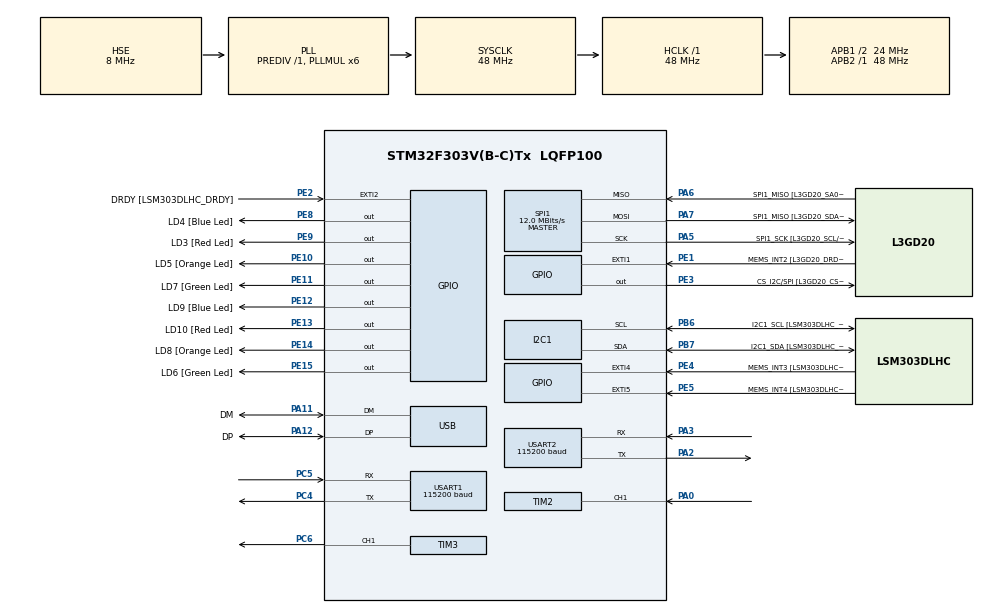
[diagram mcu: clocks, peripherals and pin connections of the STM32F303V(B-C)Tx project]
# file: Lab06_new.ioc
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I2C1.Timing=0x00201D2B
I2C1.Timing-I2C=0x2000090E
Mcu.Family=STM32F3
Mcu.Name=STM32F303V(B-C)Tx
Mcu.Package=LQFP100
NVIC.PriorityGroup=NVIC_PRIORITYGROUP_0
NVIC.TIM2_IRQn=true\:0\:0\:false\:false\:true\:true\:true\:true
NVIC.USB_LP_CAN_RX0_IRQn=true\:0\:0\:false\:false\:true\:false\:true\:true
PA0.Signal=S_TIM2_CH1_ETR
PA11.GPIO_Label=DM
PA11.Mode=Device
PA11.Signal=USB_DM
PA12.GPIO_Label=DP
PA12.Mode=Device
PA12.Signal=USB_DP
PA13.GPIO_Label=SWDIO
PA13.Mode=Serial_Wire
PA13.Signal=SYS_JTMS-SWDIO
PA14.GPIO_Label=SWCLK
PA14.Mode=Serial_Wire
PA14.Signal=SYS_JTCK-SWCLK
PA2.Mode=Asynchronous
PA2.Signal=USART2_TX
PA3.Mode=Asynchronous
PA3.Signal=USART2_RX
PA5.GPIO_Label=SPI1_SCK [L3GD20_SCL/SPC]
PA5.Mode=Full_Duplex_Master
PA5.Signal=SPI1_SCK
PA6.GPIO_Label=SPI1_MISO [L3GD20_SA0/SDO]
PA6.Mode=Full_Duplex_Master
PA6.Signal=SPI1_MISO
PA7.GPIO_Label=SPI1_MISO [L3GD20_SDA/SDI/SDO]
PA7.Mode=Full_Duplex_Master
PA7.Signal=SPI1_MOSI
PB3.GPIO_Label=SWO
PB3.Signal=SYS_JTDO-TRACESWO
PB6.GPIO_Label=I2C1_SCL [LSM303DLHC_SCL]
PB6.GPIO_Pu=GPIO_PULLUP
PB6.Mode=I2C
PB6.Signal=I2C1_SCL
PB7.GPIO_Label=I2C1_SDA [LSM303DLHC_SDA]
PB7.GPIO_Pu=GPIO_PULLUP
PB7.Mode=I2C
PB7.Signal=I2C1_SDA
PC14-OSC32_IN.GPIO_Label=OSC32_IN
PC14-OSC32_IN.Signal=RCC_OSC32_IN
PC15-OSC32_OUT.GPIO_Label=OSC32_OUT
PC15-OSC32_OUT.Signal=RCC_OSC32_OUT
PC4.Mode=Asynchronous
PC4.Signal=USART1_TX
PC5.Mode=Asynchronous
PC5.Signal=USART1_RX
PC6.Signal=S_TIM3_CH1
PE1.GPIO_Label=MEMS_INT2 [L3GD20_DRDY/INT2]
PE1.GPIO_ModeDefaultEXTI=GPIO_MODE_EVT_RISING
PE1.Signal=GPXTI1
PE10.GPIO_Label=LD5 [Orange Led]
PE10.Signal=GPIO_Output
PE11.GPIO_Label=LD7 [Green Led]
PE11.Signal=GPIO_Output
PE12.GPIO_Label=LD9 [Blue Led]
PE12.Signal=GPIO_Output
PE13.GPIO_Label=LD10 [Red Led]
PE13.Signal=GPIO_Output
PE14.GPIO_Label=LD8 [Orange Led]
PE14.Signal=GPIO_Output
PE15.GPIO_Label=LD6 [Green Led]
PE15.Signal=GPIO_Output
PE2.GPIO_Label=DRDY [LSM303DLHC_DRDY]
PE2.GPIO_ModeDefaultEXTI=GPIO_MODE_EVT_RISING
PE2.Signal=GPXTI2
PE3.GPIO_Label=CS_I2C/SPI [L3GD20_CS_I2C/SPI]
PE3.Signal=GPIO_Output
PE4.GPIO_Label=MEMS_INT3 [LSM303DLHC_INT1]
PE4.GPIO_ModeDefaultEXTI=GPIO_MODE_EVT_RISING
PE4.Signal=GPXTI4
PE5.GPIO_Label=MEMS_INT4 [LSM303DLHC_INT2]
PE5.GPIO_ModeDefaultEXTI=GPIO_MODE_EVT_RISING
PE5.Signal=GPXTI5
PE8.GPIO_Label=LD4 [Blue Led]
PE8.Signal=GPIO_Output
PE9.GPIO_Label=LD3 [Red Led]
PE9.Signal=GPIO_Output
PF0-OSC_IN.GPIO_Label=OSC_IN
PF0-OSC_IN.Mode=HSE-External-Clock-Source
PF0-OSC_IN.Signal=RCC_OSC_IN
PF1-OSC_OUT.GPIO_Label=OSC_OUT
PF1-OSC_OUT.Signal=RCC_OSC_OUT
ProjectManager.HeapSize=0x200
ProjectManager.StackSize=0x400
ProjectManager.TargetToolchain=CMake
RCC.AHBFreq_Value=48000000
RCC.APB1CLKDivider=RCC_HCLK_DIV2
RCC.APB1Freq_Value=24000000
RCC.APB1TimFreq_Value=48000000
RCC.APB2Freq_Value=48000000
RCC.APB2TimFreq_Value=48000000
RCC.CortexFreq_Value=48000000
RCC.HCLKFreq_Value=48000000
RCC.HSE_VALUE=8000000
RCC.HSI_VALUE=8000000
RCC.LSE_VALUE=32768
RCC.PLLMUL=RCC_PLL_MUL6
RCC.SYSCLKFreq_VALUE=48000000
RCC.SYSCLKSourceVirtual=RCC_SYSCLKSOURCE_PLLCLK
RCC.USBFreq_Value=48000000
SH.S_TIM2_CH1_ETR.0=TIM2_CH1,Input_Capture1_from_TI1
SH.S_TIM3_CH1.0=TIM3_CH1,PWM Generation1 CH1
SPI1.BaudRatePrescaler=SPI_BAUDRATEPRESCALER_4
SPI1.BaudRatePrescaler-Full_Duplex_Master=SPI_BAUDRATEPRESCALER_2
SPI1.CalculateBaudRate=12.0 MBits/s
SPI1.CalculateBaudRate-Full_Duplex_Master=24.0 MBits/s
SPI1.Direction=SPI_DIRECTION_2LINES
SPI1.Mode=SPI_MODE_MASTER
SPI1.Mode-Full_Duplex_Master=SPI_MODE_MASTER
SPI1.VirtualType=VM_MASTER
TIM2.Channel-Input_Capture1_from_TI1=TIM_CHANNEL_1
TIM2.Period=65535
TIM2.Prescaler=71
TIM3.AutoReloadPreload=TIM_AUTORELOAD_PRELOAD_DISABLE
TIM3.Channel-PWM\ Generation1\ CH1=TIM_CHANNEL_1
TIM3.Period=999
TIM3.Prescaler=47
TIM3.Pulse-PWM\ Generation1\ CH1=500
USART1.BaudRate=115200
USART1.VirtualMode-Asynchronous=VM_ASYNC
USART2.BaudRate=115200
USART2.VirtualMode-Asynchronous=VM_ASYNC
USB_DEVICE.CLASS_NAME_FS=CDC
USB_DEVICE.VirtualMode=Cdc
USB_DEVICE.VirtualModeFS=Cdc_FS
VP_USB_DEVICE_VS_USB_DEVICE_CDC_FS.Mode=CDC_FS
board=STM32F3DISCOVERY

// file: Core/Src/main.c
/* USER CODE BEGIN Header */
/**
  ******************************************************************************
  * @file           : main.c
  * @brief          : Main program body
  ******************************************************************************
  * @attention
  *
  * Copyright (c) 2026 STMicroelectronics.
  * All rights reserved.
  *
  * This software is licensed under terms that can be found in the LICENSE file
  * in the root directory of this software component.
  * If no LICENSE file comes with this software, it is provided AS-IS.
  *
  ******************************************************************************
  */
/* USER CODE END Header */
#include "main.h"
#include "usb_device.h"

/* USER CODE BEGIN Includes */
#include "stm32f3xx_hal_gpio.h"
#include "stm32f3xx_hal_uart.h"
#include "main.h"
#include "stdarg.h"
#include "stdio.h"
#include "stm32f3xx_hal.h"
#include "string.h"
#include "math.h"

/* USER CODE END Includes */

I2C_HandleTypeDef hi2c1;

SPI_HandleTypeDef hspi1;

TIM_HandleTypeDef htim2;
TIM_HandleTypeDef htim3;

UART_HandleTypeDef huart1;
UART_HandleTypeDef huart2;

void SystemClock_Config(void);
static void MX_GPIO_Init(void);
static void MX_I2C1_Init(void);
static void MX_SPI1_Init(void);
static void MX_TIM2_Init(void);
static void MX_USART1_UART_Init(void);
static void MX_USART2_UART_Init(void);
static void MX_TIM3_Init(void);

/* USER CODE BEGIN 0 */
void myPrintf(const char *fmt, ...);
void HAL_TIM_IC_CaptureCallback ( TIM_HandleTypeDef *htim);
uint32_t last_capture = 0, period = 0;
/* USER CODE END 0 */

int main(void)
{

  /* MCU Configuration--------------------------------------------------------*/

  /* Reset of all peripherals, Initializes the Flash interface and the Systick. */
  HAL_Init();

  /* Configure the system clock */
  SystemClock_Config();

  /* Initialize all configured peripherals */
  MX_GPIO_Init();
  MX_I2C1_Init();
  MX_SPI1_Init();
  MX_TIM2_Init();
  MX_USART1_UART_Init();
  MX_USB_DEVICE_Init();
  MX_USART2_UART_Init();
  MX_TIM3_Init();
  /* USER CODE BEGIN 2 */
  HAL_TIM_IC_Start_IT (& htim2, TIM_CHANNEL_1 );
  HAL_TIM_IC_Start_IT (& htim3, TIM_CHANNEL_1 );
  /* USER CODE END 2 */

  /* Infinite loop */
  /* USER CODE BEGIN WHILE */
  while (1){
    // HAL_UART_Transmit(&huart1, (uint8_t *)"Hello, World!\r\n", 14, HAL_MAX_DELAY);
    myPrintf("period: %d\r\n", period);
    int freq = 48000000 / (72* period);
    myPrintf( "frequency = %d\r\n", freq);
    HAL_Delay(100);
    /* USER CODE END WHILE */

  }
}

void SystemClock_Config(void)
{
  RCC_OscInitTypeDef RCC_OscInitStruct = {0};
  RCC_ClkInitTypeDef RCC_ClkInitStruct = {0};
  RCC_PeriphCLKInitTypeDef PeriphClkInit = {0};

  /** Initializes the RCC Oscillators according to the specified parameters
  * in the RCC_OscInitTypeDef structure.
  */
  RCC_OscInitStruct.OscillatorType = RCC_OSCILLATORTYPE_HSI|RCC_OSCILLATORTYPE_HSE;
  RCC_OscInitStruct.HSEState = RCC_HSE_BYPASS;
  RCC_OscInitStruct.HSEPredivValue = RCC_HSE_PREDIV_DIV1;
  RCC_OscInitStruct.HSIState = RCC_HSI_ON;
  RCC_OscInitStruct.HSICalibrationValue = RCC_HSICALIBRATION_DEFAULT;
  RCC_OscInitStruct.PLL.PLLState = RCC_PLL_ON;
  RCC_OscInitStruct.PLL.PLLSource = RCC_PLLSOURCE_HSE;
  RCC_OscInitStruct.PLL.PLLMUL = RCC_PLL_MUL6;
  if (HAL_RCC_OscConfig(&RCC_OscInitStruct) != HAL_OK)
  {
    Error_Handler();
  }

  /** Initializes the CPU, AHB and APB buses clocks
  */
  RCC_ClkInitStruct.ClockType = RCC_CLOCKTYPE_HCLK|RCC_CLOCKTYPE_SYSCLK
                              |RCC_CLOCKTYPE_PCLK1|RCC_CLOCKTYPE_PCLK2;
  RCC_ClkInitStruct.SYSCLKSource = RCC_SYSCLKSOURCE_PLLCLK;
  RCC_ClkInitStruct.AHBCLKDivider = RCC_SYSCLK_DIV1;
  RCC_ClkInitStruct.APB1CLKDivider = RCC_HCLK_DIV2;
  RCC_ClkInitStruct.APB2CLKDivider = RCC_HCLK_DIV1;

  if (HAL_RCC_ClockConfig(&RCC_ClkInitStruct, FLASH_LATENCY_1) != HAL_OK)
  {
    Error_Handler();
  }
  PeriphClkInit.PeriphClockSelection = RCC_PERIPHCLK_USB|RCC_PERIPHCLK_USART1
                              |RCC_PERIPHCLK_USART2|RCC_PERIPHCLK_I2C1;
  PeriphClkInit.Usart1ClockSelection = RCC_USART1CLKSOURCE_PCLK2;
  PeriphClkInit.Usart2ClockSelection = RCC_USART2CLKSOURCE_PCLK1;
  PeriphClkInit.I2c1ClockSelection = RCC_I2C1CLKSOURCE_HSI;
  PeriphClkInit.USBClockSelection = RCC_USBCLKSOURCE_PLL;
  if (HAL_RCCEx_PeriphCLKConfig(&PeriphClkInit) != HAL_OK)
  {
    Error_Handler();
  }
}

static void MX_I2C1_Init(void)
{

  hi2c1.Instance = I2C1;
  hi2c1.Init.Timing = 0x00201D2B;
  hi2c1.Init.OwnAddress1 = 0;
  hi2c1.Init.AddressingMode = I2C_ADDRESSINGMODE_7BIT;
  hi2c1.Init.DualAddressMode = I2C_DUALADDRESS_DISABLE;
  hi2c1.Init.OwnAddress2 = 0;
  hi2c1.Init.OwnAddress2Masks = I2C_OA2_NOMASK;
  hi2c1.Init.GeneralCallMode = I2C_GENERALCALL_DISABLE;
  hi2c1.Init.NoStretchMode = I2C_NOSTRETCH_DISABLE;
  if (HAL_I2C_Init(&hi2c1) != HAL_OK)
  {
    Error_Handler();
  }

  /** Configure Analogue filter
  */
  if (HAL_I2CEx_ConfigAnalogFilter(&hi2c1, I2C_ANALOGFILTER_ENABLE) != HAL_OK)
  {
    Error_Handler();
  }

  /** Configure Digital filter
  */
  if (HAL_I2CEx_ConfigDigitalFilter(&hi2c1, 0) != HAL_OK)
  {
    Error_Handler();
  }

}

static void MX_SPI1_Init(void)
{

  /* SPI1 parameter configuration*/
  hspi1.Instance = SPI1;
  hspi1.Init.Mode = SPI_MODE_MASTER;
  hspi1.Init.Direction = SPI_DIRECTION_2LINES;
  hspi1.Init.DataSize = SPI_DATASIZE_4BIT;
  hspi1.Init.CLKPolarity = SPI_POLARITY_LOW;
  hspi1.Init.CLKPhase = SPI_PHASE_1EDGE;
  hspi1.Init.NSS = SPI_NSS_SOFT;
  hspi1.Init.BaudRatePrescaler = SPI_BAUDRATEPRESCALER_4;
  hspi1.Init.FirstBit = SPI_FIRSTBIT_MSB;
  hspi1.Init.TIMode = SPI_TIMODE_DISABLE;
  hspi1.Init.CRCCalculation = SPI_CRCCALCULATION_DISABLE;
  hspi1.Init.CRCPolynomial = 7;
  hspi1.Init.CRCLength = SPI_CRC_LENGTH_DATASIZE;
  hspi1.Init.NSSPMode = SPI_NSS_PULSE_ENABLE;
  if (HAL_SPI_Init(&hspi1) != HAL_OK)
  {
    Error_Handler();
  }

}

static void MX_TIM2_Init(void)
{

  TIM_MasterConfigTypeDef sMasterConfig = {0};
  TIM_IC_InitTypeDef sConfigIC = {0};

  htim2.Instance = TIM2;
  htim2.Init.Prescaler = 71;
  htim2.Init.CounterMode = TIM_COUNTERMODE_UP;
  htim2.Init.Period = 65535;
  htim2.Init.ClockDivision = TIM_CLOCKDIVISION_DIV1;
  htim2.Init.AutoReloadPreload = TIM_AUTORELOAD_PRELOAD_DISABLE;
  if (HAL_TIM_IC_Init(&htim2) != HAL_OK)
  {
    Error_Handler();
  }
  sMasterConfig.MasterOutputTrigger = TIM_TRGO_RESET;
  sMasterConfig.MasterSlaveMode = TIM_MASTERSLAVEMODE_DISABLE;
  if (HAL_TIMEx_MasterConfigSynchronization(&htim2, &sMasterConfig) != HAL_OK)
  {
    Error_Handler();
  }
  sConfigIC.ICPolarity = TIM_INPUTCHANNELPOLARITY_RISING;
  sConfigIC.ICSelection = TIM_ICSELECTION_DIRECTTI;
  sConfigIC.ICPrescaler = TIM_ICPSC_DIV1;
  sConfigIC.ICFilter = 0;
  if (HAL_TIM_IC_ConfigChannel(&htim2, &sConfigIC, TIM_CHANNEL_1) != HAL_OK)
  {
    Error_Handler();
  }

}

static void MX_TIM3_Init(void)
{

  TIM_MasterConfigTypeDef sMasterConfig = {0};
  TIM_OC_InitTypeDef sConfigOC = {0};

  htim3.Instance = TIM3;
  htim3.Init.Prescaler = 47;
  htim3.Init.CounterMode = TIM_COUNTERMODE_UP;
  htim3.Init.Period = 999;
  htim3.Init.ClockDivision = TIM_CLOCKDIVISION_DIV1;
  htim3.Init.AutoReloadPreload = TIM_AUTORELOAD_PRELOAD_DISABLE;
  if (HAL_TIM_PWM_Init(&htim3) != HAL_OK)
  {
    Error_Handler();
  }
  sMasterConfig.MasterOutputTrigger = TIM_TRGO_RESET;
  sMasterConfig.MasterSlaveMode = TIM_MASTERSLAVEMODE_DISABLE;
  if (HAL_TIMEx_MasterConfigSynchronization(&htim3, &sMasterConfig) != HAL_OK)
  {
    Error_Handler();
  }
  sConfigOC.OCMode = TIM_OCMODE_PWM1;
  sConfigOC.Pulse = 500;
  sConfigOC.OCPolarity = TIM_OCPOLARITY_HIGH;
  sConfigOC.OCFastMode = TIM_OCFAST_DISABLE;
  if (HAL_TIM_PWM_ConfigChannel(&htim3, &sConfigOC, TIM_CHANNEL_1) != HAL_OK)
  {
    Error_Handler();
  }
  HAL_TIM_MspPostInit(&htim3);

}

static void MX_USART1_UART_Init(void)
{

  huart1.Instance = USART1;
  huart1.Init.BaudRate = 115200;
  huart1.Init.WordLength = UART_WORDLENGTH_8B;
  huart1.Init.StopBits = UART_STOPBITS_1;
  huart1.Init.Parity = UART_PARITY_NONE;
  huart1.Init.Mode = UART_MODE_TX_RX;
  huart1.Init.HwFlowCtl = UART_HWCONTROL_NONE;
  huart1.Init.OverSampling = UART_OVERSAMPLING_16;
  huart1.Init.OneBitSampling = UART_ONE_BIT_SAMPLE_DISABLE;
  huart1.AdvancedInit.AdvFeatureInit = UART_ADVFEATURE_NO_INIT;
  if (HAL_UART_Init(&huart1) != HAL_OK)
  {
    Error_Handler();
  }

}

static void MX_USART2_UART_Init(void)
{

  huart2.Instance = USART2;
  huart2.Init.BaudRate = 115200;
  huart2.Init.WordLength = UART_WORDLENGTH_8B;
  huart2.Init.StopBits = UART_STOPBITS_1;
  huart2.Init.Parity = UART_PARITY_NONE;
  huart2.Init.Mode = UART_MODE_TX_RX;
  huart2.Init.HwFlowCtl = UART_HWCONTROL_NONE;
  huart2.Init.OverSampling = UART_OVERSAMPLING_16;
  huart2.Init.OneBitSampling = UART_ONE_BIT_SAMPLE_DISABLE;
  huart2.AdvancedInit.AdvFeatureInit = UART_ADVFEATURE_NO_INIT;
  if (HAL_UART_Init(&huart2) != HAL_OK)
  {
    Error_Handler();
  }

}

static void MX_GPIO_Init(void)
{
  GPIO_InitTypeDef GPIO_InitStruct = {0};

  /* GPIO Ports Clock Enable */
  __HAL_RCC_GPIOE_CLK_ENABLE();
  __HAL_RCC_GPIOC_CLK_ENABLE();
  __HAL_RCC_GPIOF_CLK_ENABLE();
  __HAL_RCC_GPIOA_CLK_ENABLE();
  __HAL_RCC_GPIOB_CLK_ENABLE();

  /*Configure GPIO pin Output Level */
  HAL_GPIO_WritePin(GPIOE, CS_I2C_SPI_Pin|LD4_Pin|LD3_Pin|LD5_Pin
                          |LD7_Pin|LD9_Pin|LD10_Pin|LD8_Pin
                          |LD6_Pin, GPIO_PIN_RESET);

  /*Configure GPIO pins : DRDY_Pin MEMS_INT3_Pin MEMS_INT4_Pin MEMS_INT2_Pin */
  GPIO_InitStruct.Pin = DRDY_Pin|MEMS_INT3_Pin|MEMS_INT4_Pin|MEMS_INT2_Pin;
  GPIO_InitStruct.Mode = GPIO_MODE_EVT_RISING;
  GPIO_InitStruct.Pull = GPIO_NOPULL;
  HAL_GPIO_Init(GPIOE, &GPIO_InitStruct);

  /*Configure GPIO pins : CS_I2C_SPI_Pin LD4_Pin LD3_Pin LD5_Pin
                           LD7_Pin LD9_Pin LD10_Pin LD8_Pin
                           LD6_Pin */
  GPIO_InitStruct.Pin = CS_I2C_SPI_Pin|LD4_Pin|LD3_Pin|LD5_Pin
                          |LD7_Pin|LD9_Pin|LD10_Pin|LD8_Pin
                          |LD6_Pin;
  GPIO_InitStruct.Mode = GPIO_MODE_OUTPUT_PP;
  GPIO_InitStruct.Pull = GPIO_NOPULL;
  GPIO_InitStruct.Speed = GPIO_SPEED_FREQ_LOW;
  HAL_GPIO_Init(GPIOE, &GPIO_InitStruct);

}

/* USER CODE BEGIN 4 */
void HAL_TIM_IC_CaptureCallback ( TIM_HandleTypeDef *htim) {
  if (htim -> Channel == HAL_TIM_ACTIVE_CHANNEL_1 ) {
    uint32_t current_capture = HAL_TIM_ReadCapturedValue (htim ,TIM_CHANNEL_1 );
    period = current_capture - last_capture ;
    last_capture = current_capture ;}
}

void myPrintf(const char *fmt, ...)
{
    char buffer[256];
    va_list argument;
    va_start(argument, fmt);
    vsnprintf(buffer, sizeof(buffer), fmt, argument);
    HAL_UART_Transmit(&huart1, (uint8_t*)buffer, strlen(buffer), HAL_MAX_DELAY);
}
/* USER CODE END 4 */

void Error_Handler(void)
{
  __disable_irq();
  while (1)
  {
  }
}
